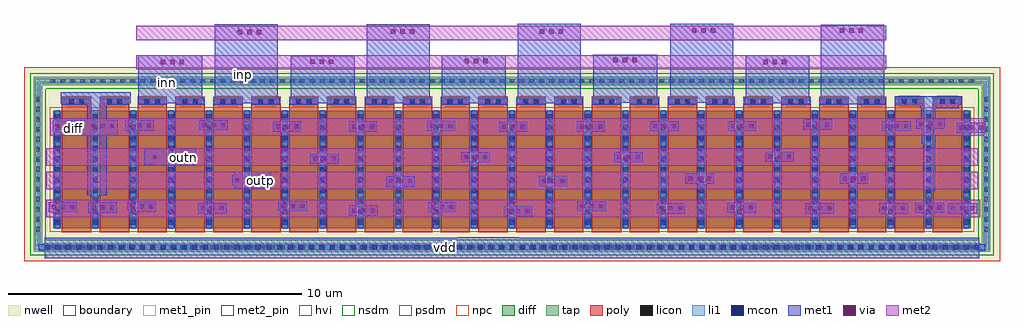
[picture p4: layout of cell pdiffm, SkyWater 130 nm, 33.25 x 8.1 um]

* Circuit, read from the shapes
.subckt pdiffm diff inn inp outn outp vdd
XM1 diff diff diff vdd sky130_fd_pr__pfet_g5v0d10v5 w=4 l=1 m=4
XM2 outn inn diff vdd sky130_fd_pr__pfet_g5v0d10v5 w=4 l=1 m=10
XM3 outp inp diff vdd sky130_fd_pr__pfet_g5v0d10v5 w=4 l=1 m=10
.ends

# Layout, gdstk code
from math import pi, radians
import gdstk
lib = gdstk.Library(unit=1e-6, precision=1e-09)
def R(c, l, rs):  # rectangles x0, y0, x1, y1
    for r in rs: c.add(gdstk.rectangle(r[:2], r[2:], *l))
def A(c, l, x, y, w, h, nx, ny, dx, dy):  # array of equal rectangles
    R(c, l, [(x+i*dx, y+j*dy, x+i*dx+w, y+j*dy+h) for i in range(nx) for j in range(ny)])
nwell = (64, 20)
diff = (65, 20)
tap = (65, 44)
poly = (66, 20)
licon = (66, 44)
li1 = (67, 20)
mcon = (67, 44)
met1_pin = (68, 16)
met1 = (68, 20)
via = (68, 44)
met2_pin = (69, 16)
met2 = (69, 20)
hvi = (75, 20)
nsdm = (93, 44)
psdm = (94, 20)
npc = (95, 20)
boundary = (235, 4)

viam1m2_1u = lib.new_cell('viam1m2_1u')
R(viam1m2_1u, met1, [(-0.02,-0.04,0.33,0.94)])
A(viam1m2_1u, via, 0.075, 0.06, 0.15, 0.15, 1, 3, 0, 0.32)
R(viam1m2_1u, met2, [(-0.02,-0.04,0.33,0.94)])

viam1m2_0 = lib.new_cell('viam1m2#0')

sky130_fd_pr__pfet_g5v0d = lib.new_cell('sky130_fd_pr__pfet_g5v0d10v5_JWQ2MK')
R(sky130_fd_pr__pfet_g5v0d, nwell, [(-16.625,-3.31,16.625,3.31)])
R(sky130_fd_pr__pfet_g5v0d, diff, [(-15.625,-2.18,15.625,1.82)])
R(sky130_fd_pr__pfet_g5v0d, tap, [(-16.295,-2.98,16.295,-2.69), (-16.295,-2.69,-16.005,2.69), (16.005,-2.69,16.295,2.69), (-16.295,2.69,16.295,2.98)])
A(sky130_fd_pr__pfet_g5v0d, poly, -15.335, -2.31, 1, 4.615, 24, 1, 1.29, 0)
A(sky130_fd_pr__pfet_g5v0d, licon, -15.725, -2.92, 0.17, 0.17, 93, 2, 0.34, 5.67)
A(sky130_fd_pr__pfet_g5v0d, licon, -16.235, -2.295, 0.17, 0.17, 1, 14, 0, 0.34)
A(sky130_fd_pr__pfet_g5v0d, licon, 16.065, -2.295, 0.17, 0.17, 1, 14, 0, 0.34)
A(sky130_fd_pr__pfet_g5v0d, licon, -15.565, -1.965, 0.17, 0.17, 25, 11, 1.29, 0.34)
R(sky130_fd_pr__pfet_g5v0d, licon, [(-15.09,2.055,-14.92,2.225), (-14.75,2.055,-14.58,2.225), (-13.8,2.055,-13.63,2.225), (-13.46,2.055,-13.29,2.225), (-12.51,2.055,-12.34,2.225), (-12.17,2.055,-12,2.225), (-11.22,2.055,-11.05,2.225), (-10.88,2.055,-10.71,2.225), (-9.93,2.055,-9.76,2.225), (-9.59,2.055,-9.42,2.225), (-8.64,2.055,-8.47,2.225), (-8.3,2.055,-8.13,2.225), (-7.35,2.055,-7.18,2.225), (-7.01,2.055,-6.84,2.225), (-6.06,2.055,-5.89,2.225), (-5.72,2.055,-5.55,2.225), (-4.77,2.055,-4.6,2.225), (-4.43,2.055,-4.26,2.225), (-3.48,2.055,-3.31,2.225), (-3.14,2.055,-2.97,2.225), (-2.19,2.055,-2.02,2.225), (-1.85,2.055,-1.68,2.225), (-0.9,2.055,-0.73,2.225), (-0.56,2.055,-0.39,2.225), (0.39,2.055,0.56,2.225), (0.73,2.055,0.9,2.225), (1.68,2.055,1.85,2.225), (2.02,2.055,2.19,2.225), (2.97,2.055,3.14,2.225), (3.31,2.055,3.48,2.225), (4.26,2.055,4.43,2.225), (4.6,2.055,4.77,2.225), (5.55,2.055,5.72,2.225), (5.89,2.055,6.06,2.225), (6.84,2.055,7.01,2.225), (7.18,2.055,7.35,2.225), (8.13,2.055,8.3,2.225), (8.47,2.055,8.64,2.225), (9.42,2.055,9.59,2.225), (9.76,2.055,9.93,2.225), (10.71,2.055,10.88,2.225), (11.05,2.055,11.22,2.225), (12,2.055,12.17,2.225), (12.34,2.055,12.51,2.225), (13.29,2.055,13.46,2.225), (13.63,2.055,13.8,2.225), (14.58,2.055,14.75,2.225), (14.92,2.055,15.09,2.225)])
A(sky130_fd_pr__pfet_g5v0d, li1, -15.565, -2.2, 0.17, 4.04, 25, 1, 1.29, 0)
A(sky130_fd_pr__pfet_g5v0d, li1, -15.335, 2.055, 1, 0.17, 24, 1, 1.29, 0)
R(sky130_fd_pr__pfet_g5v0d, li1, [(-16.235,-2.92,16.235,-2.75), (-16.235,-2.75,-16.065,2.75), (16.065,-2.75,16.235,2.75), (-16.235,2.75,16.235,2.92)])
A(sky130_fd_pr__pfet_g5v0d, mcon, -15.925, -2.92, 0.17, 0.17, 89, 1, 0.36, 0)
A(sky130_fd_pr__pfet_g5v0d, mcon, -15.565, -2.065, 0.17, 0.17, 25, 11, 1.29, 0.36)
R(sky130_fd_pr__pfet_g5v0d, mcon, [(-15.1,2.055,-14.93,2.225), (-14.74,2.055,-14.57,2.225), (-13.81,2.055,-13.64,2.225), (-13.45,2.055,-13.28,2.225), (-12.52,2.055,-12.35,2.225), (-12.16,2.055,-11.99,2.225), (-11.23,2.055,-11.06,2.225), (-10.87,2.055,-10.7,2.225), (-9.94,2.055,-9.77,2.225), (-9.58,2.055,-9.41,2.225), (-8.65,2.055,-8.48,2.225), (-8.29,2.055,-8.12,2.225), (-7.36,2.055,-7.19,2.225), (-7,2.055,-6.83,2.225), (-6.07,2.055,-5.9,2.225), (-5.71,2.055,-5.54,2.225), (-4.78,2.055,-4.61,2.225), (-4.42,2.055,-4.25,2.225), (-3.49,2.055,-3.32,2.225), (-3.13,2.055,-2.96,2.225), (-2.2,2.055,-2.03,2.225), (-1.84,2.055,-1.67,2.225), (-0.91,2.055,-0.74,2.225), (-0.55,2.055,-0.38,2.225), (0.38,2.055,0.55,2.225), (0.74,2.055,0.91,2.225), (1.67,2.055,1.84,2.225), (2.03,2.055,2.2,2.225), (2.96,2.055,3.13,2.225), (3.32,2.055,3.49,2.225), (4.25,2.055,4.42,2.225), (4.61,2.055,4.78,2.225), (5.54,2.055,5.71,2.225), (5.9,2.055,6.07,2.225), (6.83,2.055,7,2.225), (7.19,2.055,7.36,2.225), (8.12,2.055,8.29,2.225), (8.48,2.055,8.65,2.225), (9.41,2.055,9.58,2.225), (9.77,2.055,9.94,2.225), (10.7,2.055,10.87,2.225), (11.06,2.055,11.23,2.225), (11.99,2.055,12.16,2.225), (12.35,2.055,12.52,2.225), (13.28,2.055,13.45,2.225), (13.64,2.055,13.81,2.225), (14.57,2.055,14.74,2.225), (14.93,2.055,15.1,2.225)])
A(sky130_fd_pr__pfet_g5v0d, met1, -15.595, -2.18, 0.23, 4, 25, 1, 1.29, 0)
A(sky130_fd_pr__pfet_g5v0d, met1, -15.315, 2.025, 0.96, 0.23, 24, 1, 1.29, 0)
R(sky130_fd_pr__pfet_g5v0d, met1, [(-16.125,-2.95,16.125,-2.72)])
R(sky130_fd_pr__pfet_g5v0d, hvi, [(-16.625,-3.31,16.625,3.31)])
R(sky130_fd_pr__pfet_g5v0d, nsdm, [(-16.42,-3.105,16.42,-2.565), (-16.42,-2.565,-15.88,2.565), (15.88,-2.565,16.42,2.565), (-16.42,2.565,16.42,3.105)])
R(sky130_fd_pr__pfet_g5v0d, psdm, [(-15.75,-2.305,15.75,1.945)])
A(sky130_fd_pr__pfet_g5v0d, npc, -15.19, 1.955, 0.71, 0.37, 24, 1, 1.29, 0)
R(sky130_fd_pr__pfet_g5v0d, boundary, [(-16.15,-2.835,16.15,2.835)])

pdiffm = lib.new_cell('pdiffm')
R(pdiffm, met1_pin, [(16.68,0.2,17.22,0.72), (4.17,4.31,4.39,4.71), (7.37,5.89,7.59,6.29), (9.97,6.16,10.19,6.56)])
R(pdiffm, met1, [(3.29,0.08,17.44,0.09), (19.13,0.08,35.14,0.09), (3.29,0.09,35.14,0.78), (17.38,0.78,19.44,0.81), (4.74,2.23,5.41,4.305), (33.22,2.39,33.64,3.99), (9.76,2.46,11.01,3.03), (7.07,3.25,8.32,3.27), (6.68,3.27,8.46,3.81), (7.07,3.81,8.32,3.82), (7.25,3.82,7.92,3.83), (33.17,3.99,33.64,4.305), (4.03,4.305,5.41,4.31), (33.17,4.305,33.6,4.795), (4.03,4.31,5.79,4.78), (4.03,4.78,5.41,4.795), (4.74,4.795,5.41,5.33), (33.16,4.795,33.64,5.2), (33.13,5.2,34.44,5.3), (32.25,5.3,34.44,5.34), (3.86,5.33,5.41,5.36), (5.79,5.33,6.2,5.36), (29.74,5.34,31.89,8.04), (32.25,5.34,34.54,5.61), (3.85,5.36,6.23,5.75), (6.53,5.36,7.39,5.37), (9.09,5.36,11.24,8.06), (11.68,5.36,13.85,6.99), (14.26,5.36,16.41,8.06), (6.49,5.37,8.66,7), (16.83,5.37,19,7), (19.41,5.37,21.56,8.07), (27.18,5.37,29.35,7), (24.61,5.38,26.76,8.08), (21.99,5.39,24.16,7.02)])
R(pdiffm, via, [(7.5,3.455,7.65,3.605), (8.06,3.455,8.21,3.605), (6.97,3.465,7.12,3.615)])
R(pdiffm, met2_pin, [(10.52,2.55,10.74,2.95), (7.91,3.32,8.13,3.72)])
R(pdiffm, met2, [(3.35,1.49,35.16,2.08), (3.35,2.445,35.1,3.035), (3.35,3.245,35.1,3.835), (3.49,4.26,35.31,4.85), (6.41,6.52,31.96,7.01), (6.41,7.515,31.96,8.005)])
pdiffm.add(gdstk.Reference(viam1m2_1u, (3.47,1.98), rotation=3*pi/2))
pdiffm.add(gdstk.Reference(viam1m2_1u, (6.15,2), rotation=3*pi/2))
pdiffm.add(gdstk.Reference(viam1m2_1u, (4.82,1.97), rotation=3*pi/2))
pdiffm.add(gdstk.Reference(viam1m2_1u, (8.55,1.94), rotation=3*pi/2))
pdiffm.add(gdstk.Reference(viam1m2_1u, (11.3,2.01), rotation=3*pi/2))
pdiffm.add(gdstk.Reference(viam1m2_1u, (13.7,1.87), rotation=3*pi/2))
pdiffm.add(gdstk.Reference(viam1m2_1u, (16.38,1.98), rotation=3*pi/2))
pdiffm.add(gdstk.Reference(viam1m2_1u, (18.97,1.85), rotation=3*pi/2))
pdiffm.add(gdstk.Reference(viam1m2_1u, (21.48,2.01), rotation=3*pi/2))
pdiffm.add(gdstk.Reference(viam1m2_1u, (24.18,1.94), rotation=3*pi/2))
pdiffm.add(gdstk.Reference(viam1m2_1u, (26.59,1.96), rotation=3*pi/2))
pdiffm.add(gdstk.Reference(viam1m2_1u, (29.25,1.94), rotation=3*pi/2))
pdiffm.add(gdstk.Reference(viam1m2_1u, (31.77,1.94), rotation=3*pi/2))
pdiffm.add(gdstk.Reference(viam1m2_1u, (33,1.96), rotation=3*pi/2))
pdiffm.add(gdstk.Reference(viam1m2_1u, (35.02,1.94), rotation=3*pi/2, x_reflection=True))
pdiffm.add(gdstk.Reference(viam1m2_0, (10.01,2.58)))
pdiffm.add(gdstk.Reference(viam1m2_1u, (9.72,2.9), rotation=3*pi/2))
pdiffm.add(gdstk.Reference(viam1m2_0, (12.56,3.39)))
pdiffm.add(gdstk.Reference(viam1m2_1u, (12.37,3.63), rotation=3*pi/2))
pdiffm.add(gdstk.Reference(viam1m2_0, (15.15,2.58)))
pdiffm.add(gdstk.Reference(viam1m2_1u, (14.97,2.86), rotation=3*pi/2))
pdiffm.add(gdstk.Reference(viam1m2_0, (17.75,3.4)))
pdiffm.add(gdstk.Reference(viam1m2_1u, (17.53,3.68), rotation=3*pi/2))
pdiffm.add(gdstk.Reference(viam1m2_0, (20.27,2.57)))
pdiffm.add(gdstk.Reference(viam1m2_1u, (20.16,2.87), rotation=3*pi/2))
pdiffm.add(gdstk.Reference(viam1m2_0, (22.96,3.39)))
pdiffm.add(gdstk.Reference(viam1m2_1u, (22.73,3.68), rotation=3*pi/2))
pdiffm.add(gdstk.Reference(viam1m2_0, (25.53,2.58)))
pdiffm.add(gdstk.Reference(viam1m2_1u, (25.16,2.96), rotation=3*pi/2))
pdiffm.add(gdstk.Reference(viam1m2_0, (28.09,3.38)))
pdiffm.add(gdstk.Reference(viam1m2_1u, (27.88,3.7), rotation=3*pi/2))
pdiffm.add(gdstk.Reference(viam1m2_0, (30.7,2.59)))
pdiffm.add(gdstk.Reference(viam1m2_1u, (30.42,2.96), rotation=3*pi/2))
pdiffm.add(gdstk.Reference(viam1m2_1u, (3.61,4.75), rotation=3*pi/2))
pdiffm.add(gdstk.Reference(viam1m2_1u, (4.82,4.74), rotation=3*pi/2))
pdiffm.add(gdstk.Reference(viam1m2_1u, (6.07,4.76), rotation=3*pi/2))
pdiffm.add(gdstk.Reference(viam1m2_1u, (8.59,4.77), rotation=3*pi/2))
pdiffm.add(gdstk.Reference(viam1m2_1u, (11.1,4.73), rotation=3*pi/2))
pdiffm.add(gdstk.Reference(viam1m2_1u, (13.69,4.73), rotation=3*pi/2))
pdiffm.add(gdstk.Reference(viam1m2_1u, (16.35,4.75), rotation=3*pi/2))
pdiffm.add(gdstk.Reference(viam1m2_1u, (18.8,4.72), rotation=3*pi/2))
pdiffm.add(gdstk.Reference(viam1m2_1u, (21.46,4.73), rotation=3*pi/2))
pdiffm.add(gdstk.Reference(viam1m2_1u, (23.95,4.74), rotation=3*pi/2))
pdiffm.add(gdstk.Reference(viam1m2_1u, (26.6,4.74), rotation=3*pi/2))
pdiffm.add(gdstk.Reference(viam1m2_1u, (29.18,4.8), rotation=3*pi/2))
pdiffm.add(gdstk.Reference(viam1m2_1u, (31.86,4.74), rotation=3*pi/2))
pdiffm.add(gdstk.Reference(viam1m2_1u, (34.4,4.69), rotation=3*pi/2))
pdiffm.add(gdstk.Reference(viam1m2_1u, (33.02,4.82), rotation=3*pi/2))
pdiffm.add(gdstk.Reference(viam1m2_0, (8.13,7.11)))
pdiffm.add(gdstk.Reference(viam1m2_0, (6.73,6.11)))
pdiffm.add(gdstk.Reference(viam1m2_1u, (7.19,6.92), rotation=3*pi/2))
pdiffm.add(gdstk.Reference(viam1m2_0, (9.36,6.09)))
pdiffm.add(gdstk.Reference(viam1m2_1u, (9.82,7.94), rotation=3*pi/2))
pdiffm.add(gdstk.Reference(viam1m2_0, (10.76,7.12)))
pdiffm.add(gdstk.Reference(viam1m2_0, (11.94,6.12)))
pdiffm.add(gdstk.Reference(viam1m2_0, (13.34,7.13)))
pdiffm.add(gdstk.Reference(viam1m2_1u, (12.28,6.93), rotation=3*pi/2))
pdiffm.add(gdstk.Reference(viam1m2_0, (14.53,6.14)))
pdiffm.add(gdstk.Reference(viam1m2_1u, (15.03,7.96), rotation=3*pi/2))
pdiffm.add(gdstk.Reference(viam1m2_0, (17.11,6.14)))
pdiffm.add(gdstk.Reference(viam1m2_1u, (17.54,6.95), rotation=3*pi/2))
pdiffm.add(gdstk.Reference(viam1m2_0, (19.68,6.14)))
pdiffm.add(gdstk.Reference(viam1m2_1u, (20.1,7.96), rotation=3*pi/2))
pdiffm.add(gdstk.Reference(viam1m2_0, (22.31,6.14)))
pdiffm.add(gdstk.Reference(viam1m2_1u, (22.61,6.99), rotation=3*pi/2))
pdiffm.add(gdstk.Reference(viam1m2_0, (24.87,6.14)))
pdiffm.add(gdstk.Reference(viam1m2_1u, (25.29,7.99), rotation=3*pi/2))
pdiffm.add(gdstk.Reference(viam1m2_0, (27.4,6.13)))
pdiffm.add(gdstk.Reference(viam1m2_1u, (27.71,6.92), rotation=3*pi/2))
pdiffm.add(gdstk.Reference(viam1m2_0, (30,6.14)))
pdiffm.add(gdstk.Reference(viam1m2_1u, (30.32,8), rotation=3*pi/2))
pdiffm.add(gdstk.Reference(sky130_fd_pr__pfet_g5v0d, (19.215,3.29), rotation=pi, x_reflection=True))
pdiffm.add(gdstk.Label('diff', (4.28,4.51), layer=68, texttype=5))
pdiffm.add(gdstk.Label('inn', (7.48,6.09), layer=68, texttype=5))
pdiffm.add(gdstk.Label('outn', (8.02,3.52), layer=69, texttype=5))
pdiffm.add(gdstk.Label('inp', (10.08,6.36), layer=68, texttype=5))
pdiffm.add(gdstk.Label('outp', (10.63,2.75), layer=69, texttype=5))
pdiffm.add(gdstk.Label('vdd', (16.95,0.46), layer=68, texttype=5))

lib.write_gds('pdiffm.gds')
